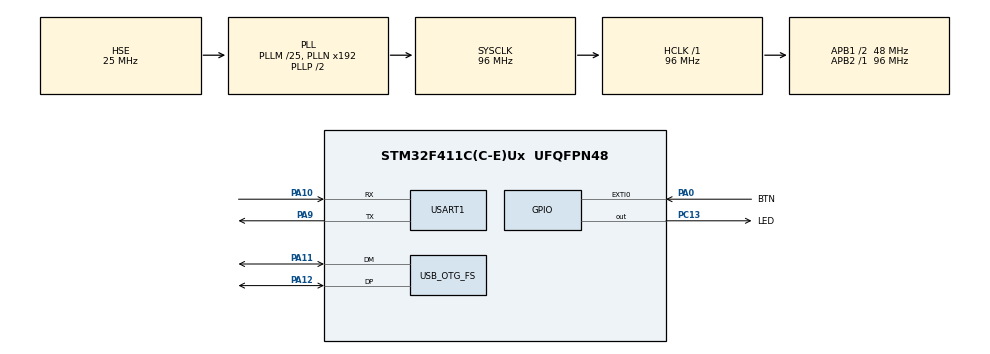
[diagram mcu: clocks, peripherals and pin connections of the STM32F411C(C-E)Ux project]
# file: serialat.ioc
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Mcu.Family=STM32F4
USB_DEVICE.CLASS_NAME_FS=CDC
RCC.CortexFreq_Value=96000000
PA10.Mode=Asynchronous
USB_DEVICE.VirtualModeFS=Cdc_FS
PC13-ANTI_TAMP.GPIO_Label=LED
PH1\ -\ OSC_OUT.Mode=HSE-External-Oscillator
PA11.Mode=Device_Only
RCC.APB1CLKDivider=RCC_HCLK_DIV2
PA0-WKUP.GPIO_ModeDefaultEXTI=GPIO_MODE_IT_RISING_FALLING
PC13-ANTI_TAMP.PinState=GPIO_PIN_SET
RCC.SYSCLKSource=RCC_SYSCLKSOURCE_PLLCLK
ProjectManager.StackSize=0x400
PA0-WKUP.GPIO_Label=BTN
PA0-WKUP.Signal=GPXTI0
PA13.Signal=SYS_JTMS-SWDIO
USB_DEVICE.MANUFACTURER_STRING=LBThomsen
PA9.Mode=Asynchronous
PA12.Signal=USB_OTG_FS_DP
PH0\ -\ OSC_IN.Mode=HSE-External-Oscillator
PH0\ -\ OSC_IN.Signal=RCC_OSC_IN
ProjectManager.TargetToolchain=STM32CubeIDE
USB_DEVICE.PRODUCT_STRING_CDC_FS=AT Virtual ComPort
RCC.HCLKFreq_Value=96000000
VP_USB_DEVICE_VS_USB_DEVICE_CDC_FS.Mode=CDC_FS
RCC.APB2TimFreq_Value=96000000
PA9.Signal=USART1_TX
RCC.LSE_VALUE=32768
RCC.AHBFreq_Value=96000000
RCC.HSE_VALUE=25000000
PH1\ -\ OSC_OUT.Signal=RCC_OSC_OUT
board=custom
PC13-ANTI_TAMP.Signal=GPIO_Output
RCC.VCOOutputFreq_Value=192000000
PC13-ANTI_TAMP.GPIO_ModeDefaultOutputPP=GPIO_MODE_OUTPUT_OD
RCC.APB2Freq_Value=96000000
PA14.Mode=Serial_Wire
PA13.Mode=Serial_Wire
Mcu.Name=STM32F411C(C-E)Ux
RCC.48MHZClocksFreq_Value=48000000
NVIC.EXTI0_IRQn=true\:0\:0\:false\:false\:true\:true\:true
RCC.SYSCLKFreq_VALUE=96000000
Mcu.Package=UFQFPN48
PA12.Mode=Device_Only
NVIC.OTG_FS_IRQn=true\:0\:0\:false\:false\:true\:false\:true
USART1.VirtualMode=VM_ASYNC
PA11.Signal=USB_OTG_FS_DM
PA10.Signal=USART1_RX
PA14.Signal=SYS_JTCK-SWCLK
USB_OTG_FS.VirtualMode=Device_Only
ProjectManager.HeapSize=0x200
RCC.HSI_VALUE=16000000
NVIC.PriorityGroup=NVIC_PRIORITYGROUP_4
RCC.PLLM=25
RCC.APB1TimFreq_Value=96000000
PA0-WKUP.GPIO_PuPd=GPIO_PULLUP
NVIC.USART1_IRQn=true\:0\:0\:false\:false\:true\:true\:true
RCC.APB1Freq_Value=48000000
USB_DEVICE.VirtualMode=Cdc

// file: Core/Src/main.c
/* USER CODE BEGIN Header */
/**
  ******************************************************************************
  * @file           : main.c
  * @brief          : Main program body
  ******************************************************************************
  * @attention
  *
  * <h2><center>&copy; Copyright (c) 2021 STMicroelectronics.
  * All rights reserved.</center></h2>
  *
  * This software component is licensed by ST under BSD 3-Clause license,
  * the "License"; You may not use this file except in compliance with the
  * License. You may obtain a copy of the License at:
  *                        opensource.org/licenses/BSD-3-Clause
  *
  ******************************************************************************
  */
/* USER CODE END Header */
#include "main.h"
#include "usb_device.h"

/* USER CODE BEGIN Includes */
#include "usbd_cdc_if.h"
#include "stdio.h"
/* USER CODE END Includes */

/* USER CODE BEGIN PD */
#define AT_RST 0
#define AT_DAT 1
#define AT_CMD 2

/* USER CODE END PD */

UART_HandleTypeDef huart1;

/* USER CODE BEGIN PV */
static char temp_ch;
uint8_t buf[32] = {0}; // Input string buffer
uint8_t at_state = AT_RST;
uint8_t at_plus_cnt = 0;
/* USER CODE END PV */

void SystemClock_Config(void);
static void MX_GPIO_Init(void);
static void MX_USART1_UART_Init(void);

/* USER CODE BEGIN 0 */

int _write(int file, char *ptr, int len) {
	CDC_Transmit_FS((uint8_t *)ptr, len);
    return len;
}

void receive_char(char ch) {
	temp_ch = ch;
	CDC_Transmit_FS((uint8_t *)&temp_ch, 1);

	if (ch = '+') {
		at_plus_cnt++;

	} else {

	}

}

/* USER CODE END 0 */

int main(void)
{

  /* MCU Configuration--------------------------------------------------------*/

  /* Reset of all peripherals, Initializes the Flash interface and the Systick. */
  HAL_Init();

  /* Configure the system clock */
  SystemClock_Config();

  /* Initialize all configured peripherals */
  MX_GPIO_Init();
  MX_USART1_UART_Init();
  MX_USB_DEVICE_Init();
  /* USER CODE BEGIN 2 */

  printf("ledctl start!\n");

  /* USER CODE END 2 */

  /* Infinite loop */
  /* USER CODE BEGIN WHILE */

  uint32_t then = 0, now = 0;

  while (1)
  {

	  now = HAL_GetTick();
	  if (now % 500 == 0 && now != then) {
		  //printf("Tick!\n");
		  HAL_GPIO_TogglePin(LED_GPIO_Port, LED_Pin);
		  then = now;
	  }

    /* USER CODE END WHILE */

  }
}

void SystemClock_Config(void)
{
  RCC_OscInitTypeDef RCC_OscInitStruct = {0};
  RCC_ClkInitTypeDef RCC_ClkInitStruct = {0};

  /** Configure the main internal regulator output voltage
  */
  __HAL_RCC_PWR_CLK_ENABLE();
  __HAL_PWR_VOLTAGESCALING_CONFIG(PWR_REGULATOR_VOLTAGE_SCALE1);
  /** Initializes the RCC Oscillators according to the specified parameters
  * in the RCC_OscInitTypeDef structure.
  */
  RCC_OscInitStruct.OscillatorType = RCC_OSCILLATORTYPE_HSE;
  RCC_OscInitStruct.HSEState = RCC_HSE_ON;
  RCC_OscInitStruct.PLL.PLLState = RCC_PLL_ON;
  RCC_OscInitStruct.PLL.PLLSource = RCC_PLLSOURCE_HSE;
  RCC_OscInitStruct.PLL.PLLM = 25;
  RCC_OscInitStruct.PLL.PLLN = 192;
  RCC_OscInitStruct.PLL.PLLP = RCC_PLLP_DIV2;
  RCC_OscInitStruct.PLL.PLLQ = 4;
  if (HAL_RCC_OscConfig(&RCC_OscInitStruct) != HAL_OK)
  {
    Error_Handler();
  }
  /** Initializes the CPU, AHB and APB buses clocks
  */
  RCC_ClkInitStruct.ClockType = RCC_CLOCKTYPE_HCLK|RCC_CLOCKTYPE_SYSCLK
                              |RCC_CLOCKTYPE_PCLK1|RCC_CLOCKTYPE_PCLK2;
  RCC_ClkInitStruct.SYSCLKSource = RCC_SYSCLKSOURCE_PLLCLK;
  RCC_ClkInitStruct.AHBCLKDivider = RCC_SYSCLK_DIV1;
  RCC_ClkInitStruct.APB1CLKDivider = RCC_HCLK_DIV2;
  RCC_ClkInitStruct.APB2CLKDivider = RCC_HCLK_DIV1;

  if (HAL_RCC_ClockConfig(&RCC_ClkInitStruct, FLASH_LATENCY_3) != HAL_OK)
  {
    Error_Handler();
  }
}

static void MX_USART1_UART_Init(void)
{

  huart1.Instance = USART1;
  huart1.Init.BaudRate = 115200;
  huart1.Init.WordLength = UART_WORDLENGTH_8B;
  huart1.Init.StopBits = UART_STOPBITS_1;
  huart1.Init.Parity = UART_PARITY_NONE;
  huart1.Init.Mode = UART_MODE_TX_RX;
  huart1.Init.HwFlowCtl = UART_HWCONTROL_NONE;
  huart1.Init.OverSampling = UART_OVERSAMPLING_16;
  if (HAL_UART_Init(&huart1) != HAL_OK)
  {
    Error_Handler();
  }

}

static void MX_GPIO_Init(void)
{
  GPIO_InitTypeDef GPIO_InitStruct = {0};

  /* GPIO Ports Clock Enable */
  __HAL_RCC_GPIOC_CLK_ENABLE();
  __HAL_RCC_GPIOH_CLK_ENABLE();
  __HAL_RCC_GPIOA_CLK_ENABLE();

  /*Configure GPIO pin Output Level */
  HAL_GPIO_WritePin(LED_GPIO_Port, LED_Pin, GPIO_PIN_SET);

  /*Configure GPIO pin : LED_Pin */
  GPIO_InitStruct.Pin = LED_Pin;
  GPIO_InitStruct.Mode = GPIO_MODE_OUTPUT_OD;
  GPIO_InitStruct.Pull = GPIO_NOPULL;
  GPIO_InitStruct.Speed = GPIO_SPEED_FREQ_LOW;
  HAL_GPIO_Init(LED_GPIO_Port, &GPIO_InitStruct);

  /*Configure GPIO pin : BTN_Pin */
  GPIO_InitStruct.Pin = BTN_Pin;
  GPIO_InitStruct.Mode = GPIO_MODE_IT_RISING_FALLING;
  GPIO_InitStruct.Pull = GPIO_PULLUP;
  HAL_GPIO_Init(BTN_GPIO_Port, &GPIO_InitStruct);

  /* EXTI interrupt init*/
  HAL_NVIC_SetPriority(EXTI0_IRQn, 0, 0);
  HAL_NVIC_EnableIRQ(EXTI0_IRQn);

}

void Error_Handler(void)
{
  __disable_irq();
  while (1)
  {
  }
}

/************************ (C) COPYRIGHT STMicroelectronics *****END OF FILE****/
